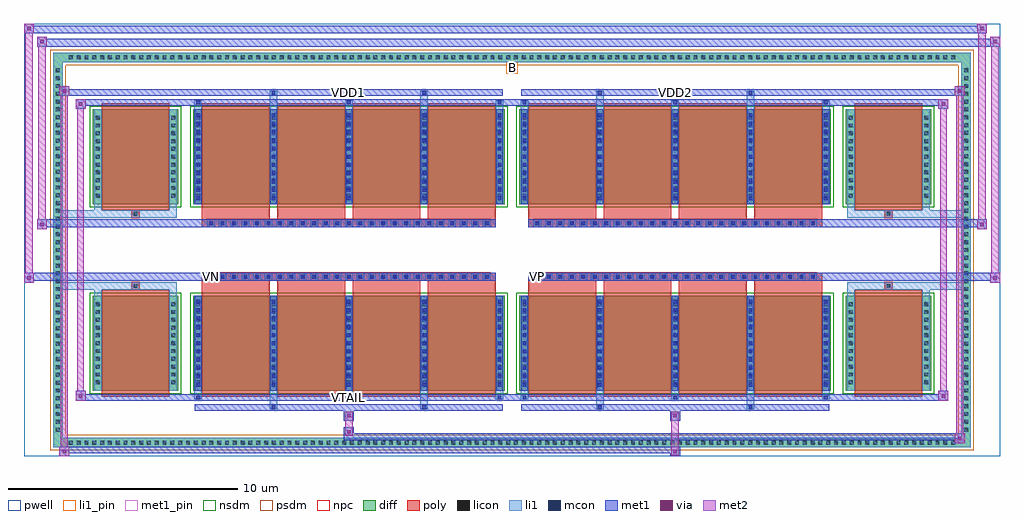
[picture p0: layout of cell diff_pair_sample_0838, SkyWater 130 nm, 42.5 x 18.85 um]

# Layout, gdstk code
import gdstk
lib = gdstk.Library(unit=1e-6, precision=5e-09)
def R(c, l, rs):  # rectangles x0, y0, x1, y1
    for r in rs: c.add(gdstk.rectangle(r[:2], r[2:], *l))
def A(c, l, x, y, w, h, nx, ny, dx, dy):  # array of equal rectangles
    R(c, l, [(x+i*dx, y+j*dy, x+i*dx+w, y+j*dy+h) for i in range(nx) for j in range(ny)])
def P(c, l, *ps):  # polygons
    for p in ps: c.add(gdstk.Polygon(p, *l))
pwell = (64, 44)
diff = (65, 20)
poly = (66, 20)
licon = (66, 44)
li1_pin = (67, 16)
li1 = (67, 20)
mcon = (67, 44)
met1_pin = (68, 16)
met1 = (68, 20)
via = (68, 44)
met2 = (69, 20)
nsdm = (93, 44)
psdm = (94, 20)
npc = (95, 20)

diff_pair_sample_0838 = lib.new_cell('diff_pair_sample_0838')
R(diff_pair_sample_0838, pwell, [(-21.25,-8.99,21.25,9.86), (-18.57,-7.18,-0.01,-0.8), (0.01,-7.18,18.57,-0.8), (-18.57,0.8,-0.01,7.18), (0.01,0.8,18.57,7.18)])
A(diff_pair_sample_0838, diff, -19.415, -8.59, 0.41, 0.41, 114, 2, 0.34, 16.77)
A(diff_pair_sample_0838, diff, -19.98, -8.025, 0.41, 0.41, 1, 47, 0, 0.34)
A(diff_pair_sample_0838, diff, 19.57, -8.025, 0.41, 0.41, 1, 47, 0, 0.34)
R(diff_pair_sample_0838, diff, [(-19.415,-8.59,19.415,-8.18), (-19.98,-8.025,-19.57,8.025), (19.57,-8.025,19.98,8.025), (-18.26,-6.135,-14.53,-1.985), (-13.89,-6.135,-0.32,-1.985), (0.32,-6.135,13.89,-1.985), (14.53,-6.135,18.26,-1.985), (-18.26,1.985,-14.53,6.135), (-13.89,1.985,-0.32,6.135), (0.32,1.985,13.89,6.135), (14.53,1.985,18.26,6.135), (-19.415,8.18,19.415,8.59)])
P(diff_pair_sample_0838, diff, [(19.98,8.59),(-19.98,8.59),(-19.98,-8.18),(-19.57,-8.18),(-19.57,8.18),(19.57,8.18),(19.57,-8.18),(-19.57,-8.18),(-19.98,-8.18),(-19.98,-8.59),(19.98,-8.59)])
A(diff_pair_sample_0838, poly, -13.5, -6.385, 2.95, 4.65, 4, 2, 3.28, 8.12)
A(diff_pair_sample_0838, poly, 0.71, -6.385, 2.95, 4.65, 4, 2, 3.28, 8.12)
A(diff_pair_sample_0838, poly, -13.5, -1.735, 2.95, 0.405, 4, 2, 3.28, 3.065)
A(diff_pair_sample_0838, poly, 0.71, -1.735, 2.95, 0.405, 4, 2, 3.28, 3.065)
A(diff_pair_sample_0838, poly, -13.27, -1.33, 0.33, 0.33, 25, 2, 0.5, 2.33)
A(diff_pair_sample_0838, poly, 0.94, -1.33, 0.33, 0.33, 25, 2, 0.5, 2.33)
R(diff_pair_sample_0838, poly, [(-17.87,-6.385,-14.92,-1.735), (14.92,-6.385,17.87,-1.735), (-16.56,-1.735,-16.23,-1.405), (-16.56,-1.735,-16.23,-1.405), (16.23,-1.735,16.56,-1.405), (16.23,-1.735,16.56,-1.405), (-13.5,-1.33,-0.71,-1), (0.71,-1.33,13.5,-1), (-13.5,1,-0.71,1.33), (0.71,1,13.5,1.33), (-16.56,1.405,-16.23,1.735), (-16.56,1.405,-16.23,1.735), (16.23,1.405,16.56,1.735), (16.23,1.405,16.56,1.735), (-17.87,1.735,-14.92,6.385), (14.92,1.735,17.87,6.385)])
A(diff_pair_sample_0838, licon, -19.295, -8.47, 0.17, 0.17, 114, 2, 0.34, 16.77)
A(diff_pair_sample_0838, licon, -19.86, -7.905, 0.17, 0.17, 1, 47, 0, 0.34)
A(diff_pair_sample_0838, licon, 19.69, -7.905, 0.17, 0.17, 1, 47, 0, 0.34)
A(diff_pair_sample_0838, licon, -18.12, -5.845, 0.17, 0.17, 1, 11, 0, 0.34)
A(diff_pair_sample_0838, licon, -14.84, -5.845, 0.17, 0.17, 1, 11, 0, 0.34)
A(diff_pair_sample_0838, licon, -13.75, -5.845, 0.17, 0.17, 5, 11, 3.28, 0.34)
A(diff_pair_sample_0838, licon, 0.46, -5.845, 0.17, 0.17, 5, 11, 3.28, 0.34)
A(diff_pair_sample_0838, licon, 14.67, -5.845, 0.17, 0.17, 1, 11, 0, 0.34)
A(diff_pair_sample_0838, licon, 17.95, -5.845, 0.17, 0.17, 1, 11, 0, 0.34)
A(diff_pair_sample_0838, licon, -13.19, -1.25, 0.17, 0.17, 25, 2, 0.5, 2.33)
A(diff_pair_sample_0838, licon, 1.02, -1.25, 0.17, 0.17, 25, 2, 0.5, 2.33)
A(diff_pair_sample_0838, licon, -18.12, 2.275, 0.17, 0.17, 1, 11, 0, 0.34)
A(diff_pair_sample_0838, licon, -14.84, 2.275, 0.17, 0.17, 1, 11, 0, 0.34)
A(diff_pair_sample_0838, licon, -13.75, 2.275, 0.17, 0.17, 5, 11, 3.28, 0.34)
A(diff_pair_sample_0838, licon, 0.46, 2.275, 0.17, 0.17, 5, 11, 3.28, 0.34)
A(diff_pair_sample_0838, licon, 14.67, 2.275, 0.17, 0.17, 1, 11, 0, 0.34)
A(diff_pair_sample_0838, licon, 17.95, 2.275, 0.17, 0.17, 1, 11, 0, 0.34)
R(diff_pair_sample_0838, licon, [(-16.48,-1.655,-16.31,-1.485), (16.31,-1.655,16.48,-1.485), (-16.48,1.485,-16.31,1.655), (16.31,1.485,16.48,1.655)])
R(diff_pair_sample_0838, li1_pin, [(-0.25,7.68,0.25,8.18)])
A(diff_pair_sample_0838, li1, -19.375, -8.55, 0.33, 0.33, 114, 2, 0.34, 16.77)
A(diff_pair_sample_0838, li1, -19.94, -7.985, 0.33, 0.33, 1, 47, 0, 0.34)
A(diff_pair_sample_0838, li1, 19.61, -7.985, 0.33, 0.33, 1, 47, 0, 0.34)
A(diff_pair_sample_0838, li1, -13.83, -6.51, 0.33, 0.375, 3, 2, 6.56, 12.645)
A(diff_pair_sample_0838, li1, -13.75, -6.51, 0.17, 0.17, 3, 2, 6.56, 12.85)
A(diff_pair_sample_0838, li1, 0.38, -6.51, 0.33, 0.375, 3, 2, 6.56, 12.645)
A(diff_pair_sample_0838, li1, 0.46, -6.51, 0.17, 0.17, 3, 2, 6.56, 12.85)
A(diff_pair_sample_0838, li1, -13.83, -6.135, 0.33, 4.15, 5, 2, 3.28, 8.12)
A(diff_pair_sample_0838, li1, 0.38, -6.135, 0.33, 4.15, 5, 2, 3.28, 8.12)
A(diff_pair_sample_0838, li1, -13.75, -5.945, 0.17, 0.17, 5, 11, 3.28, 0.36)
A(diff_pair_sample_0838, li1, -13.75, -5.945, 0.17, 3.77, 5, 2, 3.28, 8.12)
A(diff_pair_sample_0838, li1, 0.46, -5.945, 0.17, 0.17, 5, 11, 3.28, 0.36)
A(diff_pair_sample_0838, li1, 0.46, -5.945, 0.17, 3.77, 5, 2, 3.28, 8.12)
A(diff_pair_sample_0838, li1, -18.2, -5.925, 0.33, 0.33, 1, 11, 0, 0.34)
A(diff_pair_sample_0838, li1, -14.92, -5.925, 0.33, 0.33, 1, 11, 0, 0.34)
A(diff_pair_sample_0838, li1, -13.83, -5.925, 0.33, 0.33, 5, 11, 3.28, 0.34)
A(diff_pair_sample_0838, li1, 0.38, -5.925, 0.33, 0.33, 5, 11, 3.28, 0.34)
A(diff_pair_sample_0838, li1, 14.59, -5.925, 0.33, 0.33, 1, 11, 0, 0.34)
A(diff_pair_sample_0838, li1, 17.87, -5.925, 0.33, 0.33, 1, 11, 0, 0.34)
A(diff_pair_sample_0838, li1, -13.27, -1.33, 0.33, 0.33, 25, 2, 0.5, 2.33)
A(diff_pair_sample_0838, li1, 0.94, -1.33, 0.33, 0.33, 25, 2, 0.5, 2.33)
A(diff_pair_sample_0838, li1, -13.75, 2.175, 0.17, 0.17, 5, 11, 3.28, 0.36)
A(diff_pair_sample_0838, li1, 0.46, 2.175, 0.17, 0.17, 5, 11, 3.28, 0.36)
A(diff_pair_sample_0838, li1, -18.2, 2.195, 0.33, 0.33, 1, 11, 0, 0.34)
A(diff_pair_sample_0838, li1, -14.92, 2.195, 0.33, 0.33, 1, 11, 0, 0.34)
A(diff_pair_sample_0838, li1, -13.83, 2.195, 0.33, 0.33, 5, 11, 3.28, 0.34)
A(diff_pair_sample_0838, li1, 0.38, 2.195, 0.33, 0.33, 5, 11, 3.28, 0.34)
A(diff_pair_sample_0838, li1, 14.59, 2.195, 0.33, 0.33, 1, 11, 0, 0.34)
A(diff_pair_sample_0838, li1, 17.87, 2.195, 0.33, 0.33, 1, 11, 0, 0.34)
R(diff_pair_sample_0838, li1, [(-19.98,-8.59,-19.57,-8.18), (-19.98,-8.59,-19.57,-8.18), (-19.57,-8.59,19.57,-8.18), (19.57,-8.59,19.98,-8.18), (19.57,-8.59,19.98,-8.18), (-19.98,-8.18,-19.57,8.18), (19.57,-8.18,19.98,8.18), (-10.55,-6.94,-10.22,-6.135), (-10.47,-6.94,-10.3,-6.77), (-3.99,-6.94,-3.66,-6.135), (-3.91,-6.94,-3.74,-6.77), (3.66,-6.94,3.99,-6.135), (3.74,-6.94,3.91,-6.77), (10.22,-6.94,10.55,-6.135), (10.3,-6.94,10.47,-6.77), (-18.2,-6.135,-17.87,-1.985), (-14.92,-6.135,-14.59,-1.985), (14.59,-6.135,14.92,-1.985), (17.87,-6.135,18.2,-1.985), (-18.2,-1.985,-17.87,-1.405), (-14.92,-1.985,-14.59,-1.405), (14.59,-1.985,14.92,-1.405), (17.87,-1.985,18.2,-1.405), (-19.98,-1.735,-16.56,-1.405), (-18.2,-1.735,-16.56,-1.405), (-16.56,-1.735,-16.23,-1.405), (-16.23,-1.735,-14.59,-1.405), (14.59,-1.735,16.23,-1.405), (16.23,-1.735,16.56,-1.405), (16.23,-1.735,19.98,-1.405), (16.56,-1.735,18.2,-1.405), (-19.98,1.405,-16.56,1.735), (-18.2,1.405,-16.56,1.735), (-18.2,1.405,-17.87,1.985), (-16.56,1.405,-16.23,1.735), (-16.23,1.405,-14.59,1.735), (-14.92,1.405,-14.59,1.985), (14.59,1.405,16.23,1.735), (14.59,1.405,14.92,1.985), (16.23,1.405,16.56,1.735), (16.23,1.405,19.98,1.735), (16.56,1.405,18.2,1.735), (17.87,1.405,18.2,1.985), (-18.2,1.985,-17.87,6.135), (-14.92,1.985,-14.59,6.135), (14.59,1.985,14.92,6.135), (17.87,1.985,18.2,6.135), (-10.55,6.135,-10.22,6.94), (-3.99,6.135,-3.66,6.94), (3.66,6.135,3.99,6.94), (10.22,6.135,10.55,6.94), (-10.47,6.77,-10.3,6.94), (-3.91,6.77,-3.74,6.94), (3.74,6.77,3.91,6.94), (10.3,6.77,10.47,6.94), (-19.98,8.18,-19.57,8.59), (-19.98,8.18,-19.57,8.59), (-19.57,8.18,19.57,8.59), (19.57,8.18,19.98,8.59), (19.57,8.18,19.98,8.59)])
A(diff_pair_sample_0838, mcon, -13.75, -6.51, 0.17, 0.17, 3, 2, 6.56, 12.85)
A(diff_pair_sample_0838, mcon, 0.46, -6.51, 0.17, 0.17, 3, 2, 6.56, 12.85)
A(diff_pair_sample_0838, mcon, -13.75, -5.945, 0.17, 0.17, 5, 11, 3.28, 0.36)
A(diff_pair_sample_0838, mcon, 0.46, -5.945, 0.17, 0.17, 5, 11, 3.28, 0.36)
A(diff_pair_sample_0838, mcon, -13.19, -1.25, 0.17, 0.17, 25, 2, 0.5, 2.33)
A(diff_pair_sample_0838, mcon, 1.02, -1.25, 0.17, 0.17, 25, 2, 0.5, 2.33)
A(diff_pair_sample_0838, mcon, -13.75, 2.175, 0.17, 0.17, 5, 11, 3.28, 0.36)
A(diff_pair_sample_0838, mcon, 0.46, 2.175, 0.17, 0.17, 5, 11, 3.28, 0.36)
R(diff_pair_sample_0838, mcon, [(-10.47,-6.94,-10.3,-6.77), (-3.91,-6.94,-3.74,-6.77), (3.74,-6.94,3.91,-6.77), (10.3,-6.94,10.47,-6.77), (-10.47,6.77,-10.3,6.94), (-3.91,6.77,-3.74,6.94), (3.74,6.77,3.91,6.94), (10.3,6.77,10.47,6.94)])
R(diff_pair_sample_0838, met1_pin, [(-7.24,-6.55,-6.97,-6.28), (-13.24,-1.29,-12.97,-1.02), (0.97,-1.29,1.24,-1.02), (-7.24,6.73,-6.97,7), (6.97,6.73,7.24,7)])
A(diff_pair_sample_0838, met1, -13.81, -6.57, 0.29, 0.29, 3, 2, 6.56, 12.85)
A(diff_pair_sample_0838, met1, 0.4, -6.57, 0.29, 0.29, 3, 2, 6.56, 12.85)
A(diff_pair_sample_0838, met1, -13.81, -6.135, 0.29, 4.15, 5, 2, 3.28, 8.12)
A(diff_pair_sample_0838, met1, 0.4, -6.135, 0.29, 4.15, 5, 2, 3.28, 8.12)
A(diff_pair_sample_0838, met1, -13.81, -6.005, 0.29, 0.29, 5, 11, 3.28, 0.36)
A(diff_pair_sample_0838, met1, 0.4, -6.005, 0.29, 0.29, 5, 11, 3.28, 0.36)
A(diff_pair_sample_0838, met1, -13.25, -1.31, 0.29, 0.29, 25, 2, 0.5, 2.33)
A(diff_pair_sample_0838, met1, 0.96, -1.31, 0.29, 0.29, 25, 2, 0.5, 2.33)
A(diff_pair_sample_0838, met1, -13.81, 2.115, 0.29, 0.29, 5, 11, 3.28, 0.36)
A(diff_pair_sample_0838, met1, 0.4, 2.115, 0.29, 0.29, 5, 11, 3.28, 0.36)
R(diff_pair_sample_0838, met1, [(-19.71,-8.99,-19.28,-8.56), (6.89,-8.99,7.32,-8.56), (-19.71,-8.85,7.32,-8.56), (19.28,-8.42,19.71,-7.99), (-7.32,-8.28,19.71,-7.99), (-7.32,-8.14,-6.89,-7.71), (-7.32,-7.43,-6.89,-7), (6.89,-7.43,7.32,-7), (-13.81,-7,-0.4,-6.71), (-10.53,-7,-10.24,-6.71), (-3.97,-7,-3.68,-6.71), (0.4,-7,13.81,-6.71), (3.68,-7,3.97,-6.71), (10.24,-7,10.53,-6.71), (-19,-6.57,-18.57,-6.14), (-19,-6.57,-13.81,-6.28), (-13.81,-6.57,-0.4,-6.28), (-0.4,-6.57,0.4,-6.28), (0.4,-6.57,13.81,-6.28), (13.81,-6.57,19,-6.28), (18.57,-6.57,19,-6.14), (-21.25,-1.43,-20.82,-1), (20.82,-1.43,21.25,-1), (-21.25,-1.33,-0.71,-1), (-13.5,-1.33,-0.71,-1), (0.71,-1.33,13.5,-1), (0.71,-1.33,21.25,-1), (-20.68,0.9,-20.25,1.33), (20.25,0.9,20.68,1.33), (-20.68,1,-13.5,1.33), (-13.5,1,-0.71,1.33), (0.71,1,13.5,1.33), (13.5,1,20.68,1.33), (-19,6.14,-18.57,6.57), (18.57,6.14,19,6.57), (-19,6.28,-13.81,6.57), (-13.81,6.28,-0.4,6.57), (-0.4,6.28,0.4,6.57), (0.4,6.28,13.81,6.57), (13.81,6.28,19,6.57), (-19.71,6.71,-19.28,7.14), (-19.71,6.71,-13.81,7), (-13.81,6.71,-0.4,7), (-10.53,6.71,-10.24,7), (-3.97,6.71,-3.68,7), (0.4,6.71,13.81,7), (3.68,6.71,3.97,7), (10.24,6.71,10.53,7), (13.81,6.71,19.71,7), (19.28,6.71,19.71,7.14), (-20.68,8.86,-20.25,9.29), (-20.68,8.86,-18.57,9.19), (-18.57,8.86,18.57,9.19), (18.57,8.86,21.25,9.19), (20.82,8.86,21.25,9.29), (-21.25,9.43,-20.82,9.86), (-21.25,9.43,-18.57,9.76), (-18.57,9.43,18.57,9.76), (18.57,9.43,20.68,9.76), (20.25,9.43,20.68,9.86)])
R(diff_pair_sample_0838, via, [(-19.57,-8.85,-19.42,-8.7), (7.03,-8.85,7.18,-8.7), (19.42,-8.28,19.57,-8.13), (-7.18,-8,-7.03,-7.85), (-7.18,-7.29,-7.03,-7.14), (7.03,-7.29,7.18,-7.14), (-18.86,-6.43,-18.71,-6.28), (18.71,-6.43,18.86,-6.28), (-21.11,-1.29,-20.96,-1.14), (20.96,-1.29,21.11,-1.14), (-20.54,1.04,-20.39,1.19), (20.39,1.04,20.54,1.19), (-18.86,6.28,-18.71,6.43), (18.71,6.28,18.86,6.43), (-19.57,6.85,-19.42,7), (19.42,6.85,19.57,7), (-20.54,9,-20.39,9.15), (20.96,9,21.11,9.15), (-21.11,9.57,-20.96,9.72), (20.39,9.57,20.54,9.72)])
R(diff_pair_sample_0838, met2, [(-19.71,-8.99,-19.28,-8.56), (-19.64,-8.99,-19.35,7.14), (-19.35,-8.99,-19.28,-8.56), (-19.66,-8.94,-19.33,-8.61), (6.94,-8.94,7.27,-8.61), (6.94,-8.61,7.27,-7.38), (19.28,-8.42,19.71,-7.99), (19.35,-8.42,19.64,7.14), (19.64,-8.42,19.71,-7.99), (19.33,-8.37,19.66,-8.04), (-7.27,-8.09,-6.94,-7.76), (-7.27,-7.76,-6.94,-7.38), (-7.27,-7.38,-6.94,-7.05), (6.94,-7.38,7.27,-7.05), (-19,-6.57,-18.57,-6.14), (-18.93,-6.57,-18.64,6.57), (-18.64,-6.57,-18.57,-6.14), (18.57,-6.57,19,-6.14), (18.64,-6.57,18.93,6.57), (18.93,-6.57,19,-6.14), (-18.95,-6.52,-18.62,-6.19), (18.62,-6.52,18.95,-6.19), (-21.25,-1.43,-20.82,-1), (-21.2,-1.43,-20.87,9.86), (-20.87,-1.43,-20.82,-1), (20.82,-1.43,21.25,-1), (20.87,-1.43,21.2,9.29), (21.2,-1.43,21.25,-1), (-21.2,-1.38,-20.87,-1.05), (20.87,-1.38,21.2,-1.05), (-20.68,0.9,-20.25,1.33), (-20.63,0.9,-20.3,9.29), (-20.3,0.9,-20.25,1.33), (20.25,0.9,20.68,1.33), (20.3,0.9,20.63,9.86), (20.63,0.9,20.68,1.33), (-20.63,0.95,-20.3,1.28), (20.3,0.95,20.63,1.28), (-19,6.14,-18.57,6.57), (-18.64,6.14,-18.57,6.57), (18.57,6.14,19,6.57), (18.93,6.14,19,6.57), (-18.95,6.19,-18.62,6.52), (18.62,6.19,18.95,6.52), (-19.71,6.71,-19.28,7.14), (-19.35,6.71,-19.28,7.14), (19.28,6.71,19.71,7.14), (19.64,6.71,19.71,7.14), (-19.66,6.76,-19.33,7.09), (19.33,6.76,19.66,7.09), (-20.68,8.86,-20.25,9.29), (-20.3,8.86,-20.25,9.29), (20.82,8.86,21.25,9.29), (21.2,8.86,21.25,9.29), (-20.63,8.91,-20.3,9.24), (20.87,8.91,21.2,9.24), (-21.25,9.43,-20.82,9.86), (-20.87,9.43,-20.82,9.86), (20.25,9.43,20.68,9.86), (20.63,9.43,20.68,9.86), (-21.2,9.48,-20.87,9.81), (20.3,9.48,20.63,9.81)])
R(diff_pair_sample_0838, nsdm, [(-18.39,-6.265,-14.4,-1.855), (-14.02,-6.265,-0.19,-1.855), (0.19,-6.265,14.02,-1.855), (14.4,-6.265,18.39,-1.855), (-18.39,1.855,-14.4,6.265), (-14.02,1.855,-0.19,6.265), (0.19,1.855,14.02,6.265), (14.4,1.855,18.39,6.265)])
P(diff_pair_sample_0838, psdm, [(20.11,8.72),(-20.11,8.72),(-20.11,-8.05),(-19.44,-8.05),(-19.44,8.05),(19.44,8.05),(19.44,-8.05),(-19.44,-8.05),(-20.11,-8.05),(-20.11,-8.72),(20.11,-8.72)])
A(diff_pair_sample_0838, npc, -13.29, -1.35, 0.37, 0.37, 25, 2, 0.5, 2.33)
A(diff_pair_sample_0838, npc, 0.92, -1.35, 0.37, 0.37, 25, 2, 0.5, 2.33)
R(diff_pair_sample_0838, npc, [(-16.58,-1.755,-16.21,-1.385), (16.21,-1.755,16.58,-1.385), (-13.29,-1.35,-12.42,-0.98), (-13.29,-1.35,-12.42,-0.98), (-12.79,-1.35,-11.92,-0.98), (-12.79,-1.35,-11.92,-0.98), (-12.29,-1.35,-11.42,-0.98), (-12.29,-1.35,-11.42,-0.98), (-11.79,-1.35,-10.92,-0.98), (-11.79,-1.35,-10.92,-0.98), (-11.29,-1.35,-10.42,-0.98), (-11.29,-1.35,-10.42,-0.98), (-10.79,-1.35,-9.92,-0.98), (-10.79,-1.35,-9.92,-0.98), (-10.29,-1.35,-9.42,-0.98), (-10.29,-1.35,-9.42,-0.98), (-9.79,-1.35,-8.92,-0.98), (-9.79,-1.35,-8.92,-0.98), (-9.29,-1.35,-8.42,-0.98), (-9.29,-1.35,-8.42,-0.98), (-8.79,-1.35,-7.92,-0.98), (-8.79,-1.35,-7.92,-0.98), (-8.29,-1.35,-7.42,-0.98), (-8.29,-1.35,-7.42,-0.98), (-7.79,-1.35,-6.92,-0.98), (-7.79,-1.35,-6.92,-0.98), (-7.29,-1.35,-6.42,-0.98), (-7.29,-1.35,-6.42,-0.98), (-6.79,-1.35,-5.92,-0.98), (-6.79,-1.35,-5.92,-0.98), (-6.29,-1.35,-5.42,-0.98), (-6.29,-1.35,-5.42,-0.98), (-5.79,-1.35,-4.92,-0.98), (-5.79,-1.35,-4.92,-0.98), (-5.29,-1.35,-4.42,-0.98), (-5.29,-1.35,-4.42,-0.98), (-4.79,-1.35,-3.92,-0.98), (-4.79,-1.35,-3.92,-0.98), (-4.29,-1.35,-3.42,-0.98), (-4.29,-1.35,-3.42,-0.98), (-3.79,-1.35,-2.92,-0.98), (-3.79,-1.35,-2.92,-0.98), (-3.29,-1.35,-2.42,-0.98), (-3.29,-1.35,-2.42,-0.98), (-2.79,-1.35,-1.92,-0.98), (-2.79,-1.35,-1.92,-0.98), (-2.29,-1.35,-1.42,-0.98), (-2.29,-1.35,-1.42,-0.98), (-1.79,-1.35,-0.92,-0.98), (-1.79,-1.35,-0.92,-0.98), (0.92,-1.35,1.79,-0.98), (0.92,-1.35,1.79,-0.98), (1.42,-1.35,2.29,-0.98), (1.42,-1.35,2.29,-0.98), (1.92,-1.35,2.79,-0.98), (1.92,-1.35,2.79,-0.98), (2.42,-1.35,3.29,-0.98), (2.42,-1.35,3.29,-0.98), (2.92,-1.35,3.79,-0.98), (2.92,-1.35,3.79,-0.98), (3.42,-1.35,4.29,-0.98), (3.42,-1.35,4.29,-0.98), (3.92,-1.35,4.79,-0.98), (3.92,-1.35,4.79,-0.98), (4.42,-1.35,5.29,-0.98), (4.42,-1.35,5.29,-0.98), (4.92,-1.35,5.79,-0.98), (4.92,-1.35,5.79,-0.98), (5.42,-1.35,6.29,-0.98), (5.42,-1.35,6.29,-0.98), (5.92,-1.35,6.79,-0.98), (5.92,-1.35,6.79,-0.98), (6.42,-1.35,7.29,-0.98), (6.42,-1.35,7.29,-0.98), (6.92,-1.35,7.79,-0.98), (6.92,-1.35,7.79,-0.98), (7.42,-1.35,8.29,-0.98), (7.42,-1.35,8.29,-0.98), (7.92,-1.35,8.79,-0.98), (7.92,-1.35,8.79,-0.98), (8.42,-1.35,9.29,-0.98), (8.42,-1.35,9.29,-0.98), (8.92,-1.35,9.79,-0.98), (8.92,-1.35,9.79,-0.98), (9.42,-1.35,10.29,-0.98), (9.42,-1.35,10.29,-0.98), (9.92,-1.35,10.79,-0.98), (9.92,-1.35,10.79,-0.98), (10.42,-1.35,11.29,-0.98), (10.42,-1.35,11.29,-0.98), (10.92,-1.35,11.79,-0.98), (10.92,-1.35,11.79,-0.98), (11.42,-1.35,12.29,-0.98), (11.42,-1.35,12.29,-0.98), (11.92,-1.35,12.79,-0.98), (11.92,-1.35,12.79,-0.98), (12.42,-1.35,13.29,-0.98), (12.42,-1.35,13.29,-0.98), (-13.29,0.98,-12.42,1.35), (-13.29,0.98,-12.42,1.35), (-12.79,0.98,-11.92,1.35), (-12.79,0.98,-11.92,1.35), (-12.29,0.98,-11.42,1.35), (-12.29,0.98,-11.42,1.35), (-11.79,0.98,-10.92,1.35), (-11.79,0.98,-10.92,1.35), (-11.29,0.98,-10.42,1.35), (-11.29,0.98,-10.42,1.35), (-10.79,0.98,-9.92,1.35), (-10.79,0.98,-9.92,1.35), (-10.29,0.98,-9.42,1.35), (-10.29,0.98,-9.42,1.35), (-9.79,0.98,-8.92,1.35), (-9.79,0.98,-8.92,1.35), (-9.29,0.98,-8.42,1.35), (-9.29,0.98,-8.42,1.35), (-8.79,0.98,-7.92,1.35), (-8.79,0.98,-7.92,1.35), (-8.29,0.98,-7.42,1.35), (-8.29,0.98,-7.42,1.35), (-7.79,0.98,-6.92,1.35), (-7.79,0.98,-6.92,1.35), (-7.29,0.98,-6.42,1.35), (-7.29,0.98,-6.42,1.35), (-6.79,0.98,-5.92,1.35), (-6.79,0.98,-5.92,1.35), (-6.29,0.98,-5.42,1.35), (-6.29,0.98,-5.42,1.35), (-5.79,0.98,-4.92,1.35), (-5.79,0.98,-4.92,1.35), (-5.29,0.98,-4.42,1.35), (-5.29,0.98,-4.42,1.35), (-4.79,0.98,-3.92,1.35), (-4.79,0.98,-3.92,1.35), (-4.29,0.98,-3.42,1.35), (-4.29,0.98,-3.42,1.35), (-3.79,0.98,-2.92,1.35), (-3.79,0.98,-2.92,1.35), (-3.29,0.98,-2.42,1.35), (-3.29,0.98,-2.42,1.35), (-2.79,0.98,-1.92,1.35), (-2.79,0.98,-1.92,1.35), (-2.29,0.98,-1.42,1.35), (-2.29,0.98,-1.42,1.35), (-1.79,0.98,-0.92,1.35), (-1.79,0.98,-0.92,1.35), (0.92,0.98,1.79,1.35), (0.92,0.98,1.79,1.35), (1.42,0.98,2.29,1.35), (1.42,0.98,2.29,1.35), (1.92,0.98,2.79,1.35), (1.92,0.98,2.79,1.35), (2.42,0.98,3.29,1.35), (2.42,0.98,3.29,1.35), (2.92,0.98,3.79,1.35), (2.92,0.98,3.79,1.35), (3.42,0.98,4.29,1.35), (3.42,0.98,4.29,1.35), (3.92,0.98,4.79,1.35), (3.92,0.98,4.79,1.35), (4.42,0.98,5.29,1.35), (4.42,0.98,5.29,1.35), (4.92,0.98,5.79,1.35), (4.92,0.98,5.79,1.35), (5.42,0.98,6.29,1.35), (5.42,0.98,6.29,1.35), (5.92,0.98,6.79,1.35), (5.92,0.98,6.79,1.35), (6.42,0.98,7.29,1.35), (6.42,0.98,7.29,1.35), (6.92,0.98,7.79,1.35), (6.92,0.98,7.79,1.35), (7.42,0.98,8.29,1.35), (7.42,0.98,8.29,1.35), (7.92,0.98,8.79,1.35), (7.92,0.98,8.79,1.35), (8.42,0.98,9.29,1.35), (8.42,0.98,9.29,1.35), (8.92,0.98,9.79,1.35), (8.92,0.98,9.79,1.35), (9.42,0.98,10.29,1.35), (9.42,0.98,10.29,1.35), (9.92,0.98,10.79,1.35), (9.92,0.98,10.79,1.35), (10.42,0.98,11.29,1.35), (10.42,0.98,11.29,1.35), (10.92,0.98,11.79,1.35), (10.92,0.98,11.79,1.35), (11.42,0.98,12.29,1.35), (11.42,0.98,12.29,1.35), (11.92,0.98,12.79,1.35), (11.92,0.98,12.79,1.35), (12.42,0.98,13.29,1.35), (12.42,0.98,13.29,1.35), (-16.58,1.385,-16.21,1.755), (16.21,1.385,16.58,1.755)])
diff_pair_sample_0838.add(gdstk.Label('VTAIL', (-7.105,-6.415), layer=68, texttype=5))
diff_pair_sample_0838.add(gdstk.Label('VN', (-13.105,-1.155), layer=68, texttype=5))
diff_pair_sample_0838.add(gdstk.Label('VP', (1.105,-1.155), layer=68, texttype=5))
diff_pair_sample_0838.add(gdstk.Label('B', (0,7.93), layer=67, texttype=5))
diff_pair_sample_0838.add(gdstk.Label('VDD2', (7.105,6.865), layer=68, texttype=5))
diff_pair_sample_0838.add(gdstk.Label('VDD1', (-7.105,6.865), layer=68, texttype=5))

lib.write_gds('diff_pair_sample_0838.gds')
